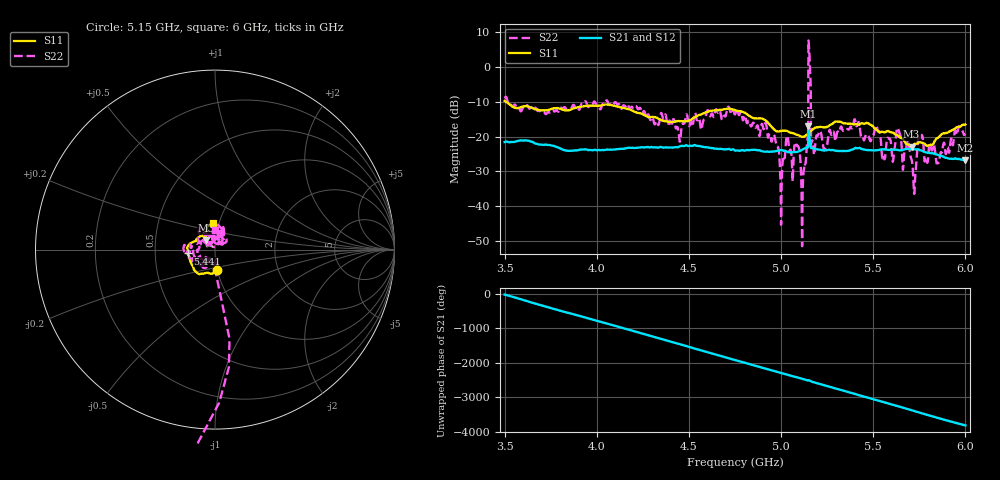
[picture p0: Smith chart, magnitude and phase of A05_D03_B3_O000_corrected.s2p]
! Created with skrf 1.9.0 (http://scikit-rf.org).
# Hz S RI R 50.0
!freq ReS11 ImS11 ReS21 ImS21 ReS12 ImS12 ReS22 ImS22
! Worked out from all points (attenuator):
!   1601 points, 3.5 GHz to 6 GHz, reference 50 ohm
!   highest |S21| = -17.10 dB at 5.148 GHz (marker M1); lowest = -26.8 dB at 6 GHz (marker M2)
!   lowest |S11| = -22.9 dB at 5.708 GHz (marker M3), VSWR 1.15, Z = 45.1 + j4.7 ohm
!   |S11| at or under -10 dB: 3.506 GHz to end of sweep
!   |S22| runs from -51.4 to 7.5 dB; largest |S21 - S12| = 0.001
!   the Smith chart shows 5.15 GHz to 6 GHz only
!   S11 on the Smith chart (normalised r, x): 5.15 GHz: 1.00, -0.23; 5.441 GHz: 0.74, -0.03; 6 GHz: 0.94, +0.28
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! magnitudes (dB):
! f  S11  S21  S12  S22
! 3.5 GHz  -9.8  -21.6  -21.6  -9.1
! 3.917 GHz  -11.5  -23.7  -23.7  -10.7
! 4.334 GHz  -14.9  -23.2  -23.1  -16.7
! 4.75 GHz  -12.5  -24.0  -24.0  -13.7
! 4.964 GHz  -18.1  -24.3  -24.2  -19.9
! 5.005 GHz  -18.3  -23.9  -23.9  -30.5
! 5.031 GHz  -18.4  -24.4  -24.3  -19.8
! 5.086 GHz  -19.5  -24.4  -24.4  -22.7
! 5.119 GHz  -20.1  -23.6  -23.5  -33.0
! 5.134 GHz  -19.7  -23.2  -23.2  -27.0
! 5.148 GHz  -19.0  -17.1  -17.1  7.5
! 5.15 GHz  -18.9  -17.7  -17.7  6.9
! 5.167 GHz  -18.2  -23.3  -23.3  -21.2
! 5.175 GHz  -17.8  -23.4  -23.4  -23.1
! 5.441 GHz  -16.3  -23.6  -23.6  -20.1
! 5.584 GHz  -18.5  -23.8  -23.8  -20.5
! 5.638 GHz  -19.9  -23.9  -23.9  -18.1
! 5.708 GHz  -22.9  -23.7  -23.6  -26.5
! 5.725 GHz  -22.1  -23.7  -23.6  -34.3
! 5.756 GHz  -21.7  -23.9  -23.9  -20.4
! 5.85 GHz  -20.4  -25.3  -25.2  -27.5
! 6 GHz  -16.6  -26.8  -26.7  -19.2
